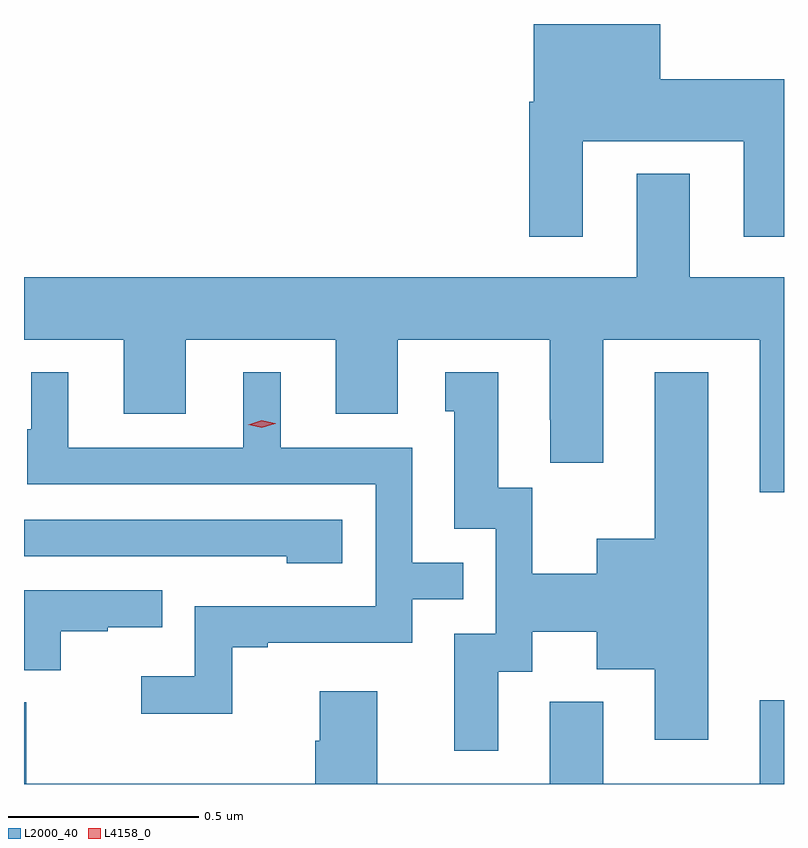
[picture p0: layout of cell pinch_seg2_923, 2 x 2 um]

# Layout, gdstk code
import gdstk
lib = gdstk.Library(unit=1e-6, precision=1e-09)
def P(c, l, *ps):  # polygons
    for p in ps: c.add(gdstk.Polygon(p, *l))
L2000_40 = (2000, 40)
L4158_0 = (4158, 0)

pinch_seg2_923 = lib.new_cell('pinch_seg2_923')
P(pinch_seg2_923, L2000_40, [(454.795,640.166),(455.219,640.166),(455.219,639.915),(455.325,639.915),(455.325,640.33),(454.999,640.33),(454.999,640.475),(454.667,640.475),(454.667,640.27),(454.655,640.27),(454.655,639.915),(454.795,639.915)],
  [(455.325,639.808),(455.077,639.808),(455.077,640.081),(454.937,640.081),(454.937,639.808),(453.325,639.808),(453.325,639.644),(453.587,639.644),(453.587,639.45),(453.751,639.45),(453.751,639.644),(454.145,639.644),(454.145,639.45),(454.309,639.45),(454.309,639.644),(454.709,639.644),(454.709,639.433),(454.71,639.433),(454.71,639.321),(454.849,639.321),(454.849,639.644),(455.261,639.644),(455.261,639.243),(455.325,639.243)],
  [(453.873,638.835),(453.967,638.835),(453.967,638.847),(454.347,638.847),(454.347,638.961),(454.481,638.961),(454.481,639.057),(454.347,639.057),(454.347,639.36),(454,639.36),(454,639.559),(453.902,639.559),(453.902,639.36),(453.442,639.36),(453.442,639.559),(453.344,639.559),(453.344,639.408),(453.333,639.408),(453.333,639.264),(454.251,639.264),(454.251,638.943),(453.774,638.943),(453.774,638.758),(453.633,638.758),(453.633,638.66),(453.873,638.66)],
  [(454.573,638.77),(454.663,638.77),(454.663,638.876),(454.832,638.876),(454.832,638.777),(454.985,638.777),(454.985,638.592),(455.125,638.592),(455.125,639.559),(454.985,639.559),(454.985,639.121),(454.832,639.121),(454.832,639.028),(454.662,639.028),(454.662,639.255),(454.573,639.255),(454.573,639.559),(454.433,639.559),(454.433,639.456),(454.457,639.456),(454.457,639.147),(454.566,639.147),(454.566,638.871),(454.457,638.871),(454.457,638.562),(454.573,638.562)],
  [(454.162,639.171),(453.325,639.171),(453.325,639.075),(453.781,639.075),(453.781,639.074),(454.017,639.074),(454.017,639.056),(454.162,639.056)],
  [(453.422,638.877),(453.545,638.877),(453.545,638.888),(453.689,638.888),(453.689,638.985),(453.325,638.985),(453.325,638.775),(453.422,638.775)],
  [(455.325,638.695),(455.261,638.695),(455.261,638.476),(454.849,638.476),(454.849,638.692),(454.709,638.692),(454.709,638.476),(454.255,638.476),(454.255,638.719),(454.103,638.719),(454.103,638.589),(454.091,638.589),(454.091,638.476),(453.331,638.476),(453.331,638.69),(453.325,638.69),(453.325,638.475),(455.325,638.475)])
P(pinch_seg2_923, L4158_0, [(453.951,639.412),(453.915,639.421),(453.915,639.421),(453.915,639.421),(453.951,639.432),(453.986,639.424),(453.987,639.423),(453.986,639.423)])

lib.write_gds('pinch_seg2_923.gds')
